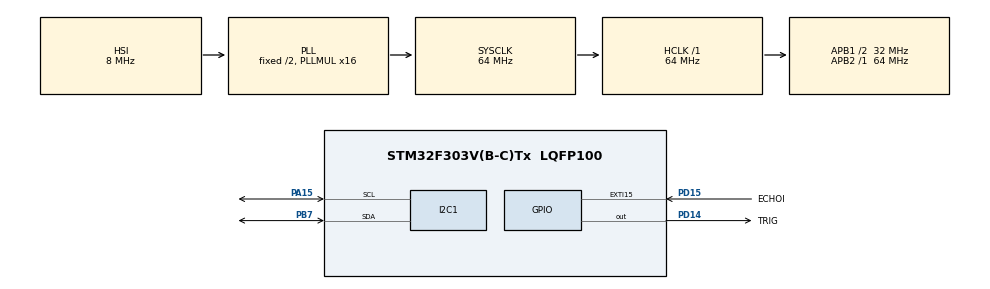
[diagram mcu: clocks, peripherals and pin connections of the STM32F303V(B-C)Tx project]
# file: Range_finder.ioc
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Mcu.Family=STM32F3
Mcu.Name=STM32F303V(B-C)Tx
Mcu.Package=LQFP100
NVIC.EXTI15_10_IRQn=true\:0\:0\:false\:false\:true\:true
NVIC.PriorityGroup=NVIC_PRIORITYGROUP_4
NVIC.TIM6_DAC_IRQn=true\:0\:0\:false\:false\:true\:true
PA13.Mode=Serial_Wire
PA13.Signal=SYS_JTMS-SWDIO
PA14.Mode=Serial_Wire
PA14.Signal=SYS_JTCK-SWCLK
PA15.Mode=I2C
PA15.Signal=I2C1_SCL
PB7.Mode=I2C
PB7.Signal=I2C1_SDA
PD14.GPIO_Label=TRIG
PD14.Signal=GPIO_Output
PD15.GPIO_Label=ECHOI
PD15.GPIO_ModeDefaultEXTI=GPIO_MODE_IT_RISING_FALLING
PD15.Signal=GPXTI15
ProjectManager.HeapSize=0x200
ProjectManager.StackSize=0x400
ProjectManager.TargetToolchain=SW4STM32
RCC.AHBFreq_Value=64000000
RCC.APB1CLKDivider=RCC_HCLK_DIV2
RCC.APB1Freq_Value=32000000
RCC.APB1TimFreq_Value=64000000
RCC.APB2Freq_Value=64000000
RCC.APB2TimFreq_Value=64000000
RCC.CortexFreq_Value=64000000
RCC.HCLKFreq_Value=64000000
RCC.HSE_VALUE=8000000
RCC.HSI_VALUE=8000000
RCC.LSE_VALUE=32768
RCC.PLLMUL=RCC_PLL_MUL16
RCC.SYSCLKFreq_VALUE=64000000
RCC.SYSCLKSourceVirtual=RCC_SYSCLKSOURCE_PLLCLK
RCC.USBFreq_Value=64000000
TIM6.Period=10000
TIM6.Prescaler=63
VP_TIM6_VS_ClockSourceINT.Mode=Enable_Timer
board=custom

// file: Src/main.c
/**
  ******************************************************************************
  * @file           : main.c
  * @brief          : Main program body
  ******************************************************************************
  ** This notice applies to any and all portions of this file
  * that are not between comment pairs USER CODE BEGIN and
  * USER CODE END. Other portions of this file, whether
  * inserted by the user or by software development tools
  * are owned by their respective copyright owners.
  *
  * COPYRIGHT(c) 2018 STMicroelectronics
  *
  * Redistribution and use in source and binary forms, with or without modification,
  * are permitted provided that the following conditions are met:
  *   1. Redistributions of source code must retain the above copyright notice,
  *      this list of conditions and the following disclaimer.
  *   2. Redistributions in binary form must reproduce the above copyright notice,
  *      this list of conditions and the following disclaimer in the documentation
  *      and/or other materials provided with the distribution.
  *   3. Neither the name of STMicroelectronics nor the names of its contributors
  *      may be used to endorse or promote products derived from this software
  *      without specific prior written permission.
  *
  * THIS SOFTWARE IS PROVIDED BY THE COPYRIGHT HOLDERS AND CONTRIBUTORS "AS IS"
  * AND ANY EXPRESS OR IMPLIED WARRANTIES, INCLUDING, BUT NOT LIMITED TO, THE
  * IMPLIED WARRANTIES OF MERCHANTABILITY AND FITNESS FOR A PARTICULAR PURPOSE ARE
  * DISCLAIMED. IN NO EVENT SHALL THE COPYRIGHT HOLDER OR CONTRIBUTORS BE LIABLE
  * FOR ANY DIRECT, INDIRECT, INCIDENTAL, SPECIAL, EXEMPLARY, OR CONSEQUENTIAL
  * DAMAGES (INCLUDING, BUT NOT LIMITED TO, PROCUREMENT OF SUBSTITUTE GOODS OR
  * SERVICES; LOSS OF USE, DATA, OR PROFITS; OR BUSINESS INTERRUPTION) HOWEVER
  * CAUSED AND ON ANY THEORY OF LIABILITY, WHETHER IN CONTRACT, STRICT LIABILITY,
  * OR TORT (INCLUDING NEGLIGENCE OR OTHERWISE) ARISING IN ANY WAY OUT OF THE USE
  * OF THIS SOFTWARE, EVEN IF ADVISED OF THE POSSIBILITY OF SUCH DAMAGE.
  *
  ******************************************************************************
  */
#include "main.h"
#include "stm32f3xx_hal.h"
#include "i2c.h"
#include "tim.h"
#include "gpio.h"

/* USER CODE BEGIN Includes */
#include "I2C_LCD.h"
/* USER CODE END Includes */

/* USER CODE BEGIN PV */
/* Private variables ---------------------------------------------------------*/

/* USER CODE END PV */

void SystemClock_Config(void);

/* USER CODE BEGIN PFP */
/* Private function prototypes -----------------------------------------------*/

/* USER CODE END PFP */

/* USER CODE BEGIN 0 */
volatile uint32_t tim6_overflows = 0;
#define SystemCoreClockInMHz (SystemCoreClock/1000000)
typedef enum state_t {
	 IDLE_S,
	 TRIGGERING_S,
	 WAITING_FOR_ECHO_START_S,
	 WAITING_FOR_ECHO_STOP_S,
	 TRIG_NOT_WENT_LOW_S,
	 ECHO_TIMEOUT_S,
	 ECHO_NOT_WENT_LOW_S,
	 READING_DATA_S,
	 ERROR_S
} state_t;

volatile state_t state = IDLE_S;
volatile uint32_t echo_start;
volatile uint32_t echo_finish;
volatile uint32_t measured_time;

void HAL_TIM_PeriodElapsedCallback(TIM_HandleTypeDef *htim)
{
	if( htim->Instance == TIM6 )
	{
		++tim6_overflows;
	}
}
#define USE_TIM6_TIMING 1

inline void TIM6_reinit()
{
	 HAL_TIM_Base_Stop(&htim6);
	 __HAL_TIM_SET_PRESCALER( &htim6, (SystemCoreClockInMHz-1) );
	 __HAL_TIM_SET_COUNTER( &htim6, 0 );
	 tim6_overflows = 0;
	 HAL_TIM_Base_Start_IT(&htim6);
}

inline uint32_t get_tim6_us()
{
	 __HAL_TIM_DISABLE_IT(&htim6, TIM_IT_UPDATE);
	 //__disable_irq();
	 uint32_t res = tim6_overflows * 10000 + __HAL_TIM_GET_COUNTER(&htim6);
	 //__enable_irq();
	 __HAL_TIM_ENABLE_IT(&htim6, TIM_IT_UPDATE);
	 return res;
}

inline void udelay_TIM6(uint32_t useconds) {
	 uint32_t before = get_tim6_us();
	 while( get_tim6_us() < before+useconds){}
}

void init_timing()
{
	#ifdef  USE_HAL_DELAY_AND_ASM
		return;
	#elif defined USE_DWT_TIMING
		DWT_Init();
	#elif defined USE_TIM6_TIMING
		TIM6_reinit();
	#else
		#error "Unknown timing method."
	#endif
}

inline uint32_t get_us()
{
	#ifdef  USE_HAL_DELAY_AND_ASM
		return 1000*HAL_GetTick();
	#elif defined USE_DWT_TIMING
		return get_DWT_us();
	#elif defined USE_TIM6_TIMING
		return get_tim6_us();
	#else
		#error "Unknown timing method."
	#endif
}

void HAL_GPIO_EXTI_Callback(uint16_t GPIO_Pin)
{
	 if (GPIO_Pin == ECHOI_Pin )
	 {
		 switch (state) {
		 	 case WAITING_FOR_ECHO_START_S: {
		 		 echo_start =  get_us();
		 		 state = WAITING_FOR_ECHO_STOP_S;
		 		 break;
		 	 }
		 	 case WAITING_FOR_ECHO_STOP_S: {
		 		 echo_finish = get_us();
		 		 measured_time = echo_finish - echo_start;
		 		 state = READING_DATA_S;
		 		 break;
		 	 }
		 	 default:
		 		 state = ERROR_S;
		 	 }
	 }
}

inline void udelay(uint32_t useconds)
{
	#ifdef  USE_HAL_DELAY_AND_ASM
	 	 udelay_asm(useconds);
	#elif defined USE_DWT_TIMING
	 	 udelay_DWT(useconds);
	#elif defined USE_TIM6_TIMING
	 	 udelay_TIM6(useconds);
	#else
		#error "Unknown timing method."
	#endif
}
/* USER CODE END 0 */

int main(void)
{
  /* USER CODE BEGIN 1 */
  extern void initialise_monitor_handles(void);
  initialise_monitor_handles();

  /* USER CODE END 1 */

  /* MCU Configuration----------------------------------------------------------*/

  /* Reset of all peripherals, Initializes the Flash interface and the Systick. */
  HAL_Init();

  /* Configure the system clock */
  SystemClock_Config();

  /* Initialize all configured peripherals */
  MX_GPIO_Init();
  MX_I2C1_Init();
  MX_TIM6_Init();

  /* Infinite loop */
  init_timing();
  /* USER CODE BEGIN WHILE */
  HAL_GPIO_WritePin(TRIG_GPIO_Port, TRIG_Pin, GPIO_PIN_RESET);
  LCD_Init(0x27<<1, hi2c1);
    while (1)
    {
     LCD_Clear();
     HAL_GPIO_WritePin(TRIG_GPIO_Port, TRIG_Pin, GPIO_PIN_SET);
     udelay(16);
     HAL_GPIO_WritePin(TRIG_GPIO_Port, TRIG_Pin, GPIO_PIN_RESET);

     state = WAITING_FOR_ECHO_START_S;
     while( state == WAITING_FOR_ECHO_START_S && state != ERROR_S )
     {}
     if ( state == ERROR_S )
     {
    	 LCD_SendString(0x27<<1, "Unexpected error");
    	 LCD_Print(1, "Waiting for ECHO Start");
		 printf("Unexpected error while waiting for ECHO to start.\n");
		 continue;
     }
     while( state == WAITING_FOR_ECHO_STOP_S && state != ERROR_S )
     {}
     if ( state == ERROR_S )
     {
    	 LCD_SendString(0x27<<1, "Unexpected error");
    	 LCD_Print(1, "Waiting for ECHO finish");
		 printf("Unexpected error while waiting for ECHO to finish.\n");
		 continue;
     }

     uint32_t distance = measured_time/58;
     if(distance >= 500 || measured_time <= 250){
    	 LCD_SendString(0x27<<1, "Distance is too");
    	 LCD_Print(1, "long or too short!");
    	 printf("Distance is too long or too short!\n");
     }else{
    	 LCD_SendString(0x27<<1, "Time: ");
    	 LCD_SendInt(measured_time, 10);
    	 LCD_PPrint(0, 12, "us");
    	 LCD_Print(1, "Distance:");
    	 LCD_PPrintInt(1, 10, distance, 10);
    	 LCD_PPrint(1, 14, "cm");
		 printf("Time: %lu us, distance: %lu cm\n",
				 measured_time,
				 distance);
     }
     udelay(100000);
    /* USER CODE END WHILE */

    }

}

void SystemClock_Config(void)
{

  RCC_OscInitTypeDef RCC_OscInitStruct;
  RCC_ClkInitTypeDef RCC_ClkInitStruct;
  RCC_PeriphCLKInitTypeDef PeriphClkInit;

    /**Initializes the CPU, AHB and APB busses clocks
    */
  RCC_OscInitStruct.OscillatorType = RCC_OSCILLATORTYPE_HSI;
  RCC_OscInitStruct.HSIState = RCC_HSI_ON;
  RCC_OscInitStruct.HSICalibrationValue = 16;
  RCC_OscInitStruct.PLL.PLLState = RCC_PLL_ON;
  RCC_OscInitStruct.PLL.PLLSource = RCC_PLLSOURCE_HSI;
  RCC_OscInitStruct.PLL.PLLMUL = RCC_PLL_MUL16;
  if (HAL_RCC_OscConfig(&RCC_OscInitStruct) != HAL_OK)
  {
    _Error_Handler(__FILE__, __LINE__);
  }

    /**Initializes the CPU, AHB and APB busses clocks
    */
  RCC_ClkInitStruct.ClockType = RCC_CLOCKTYPE_HCLK|RCC_CLOCKTYPE_SYSCLK
                              |RCC_CLOCKTYPE_PCLK1|RCC_CLOCKTYPE_PCLK2;
  RCC_ClkInitStruct.SYSCLKSource = RCC_SYSCLKSOURCE_PLLCLK;
  RCC_ClkInitStruct.AHBCLKDivider = RCC_SYSCLK_DIV1;
  RCC_ClkInitStruct.APB1CLKDivider = RCC_HCLK_DIV2;
  RCC_ClkInitStruct.APB2CLKDivider = RCC_HCLK_DIV1;

  if (HAL_RCC_ClockConfig(&RCC_ClkInitStruct, FLASH_LATENCY_2) != HAL_OK)
  {
    _Error_Handler(__FILE__, __LINE__);
  }

  PeriphClkInit.PeriphClockSelection = RCC_PERIPHCLK_I2C1;
  PeriphClkInit.I2c1ClockSelection = RCC_I2C1CLKSOURCE_HSI;
  if (HAL_RCCEx_PeriphCLKConfig(&PeriphClkInit) != HAL_OK)
  {
    _Error_Handler(__FILE__, __LINE__);
  }

    /**Configure the Systick interrupt time
    */
  HAL_SYSTICK_Config(HAL_RCC_GetHCLKFreq()/1000);

    /**Configure the Systick
    */
  HAL_SYSTICK_CLKSourceConfig(SYSTICK_CLKSOURCE_HCLK);

  /* SysTick_IRQn interrupt configuration */
  HAL_NVIC_SetPriority(SysTick_IRQn, 0, 0);
}

void _Error_Handler(char *file, int line)
{
  while(1)
  {
  }
}

/************************ (C) COPYRIGHT STMicroelectronics *****END OF FILE****/
